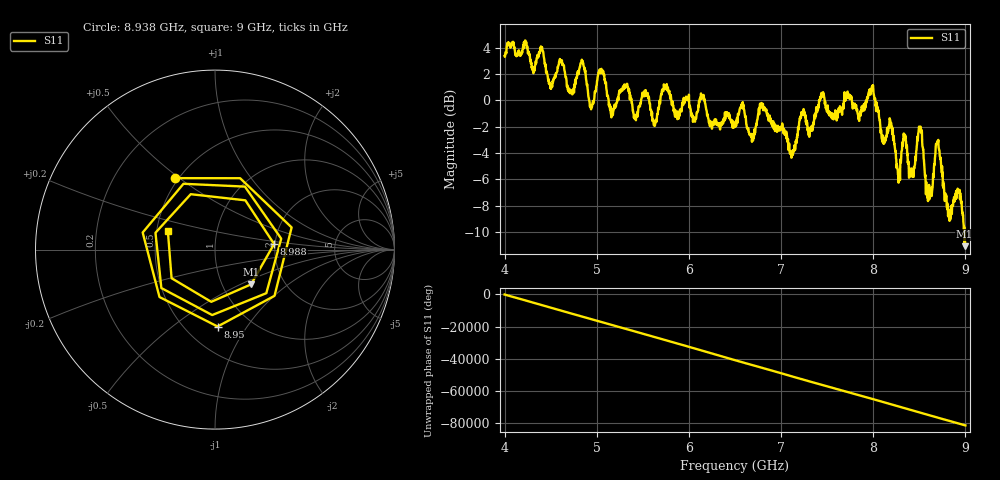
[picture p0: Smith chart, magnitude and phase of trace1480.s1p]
! Created with skrf 1.8.0 (http://scikit-rf.org).
# Hz S RI R 50.0
!freq ReS11 ImS11
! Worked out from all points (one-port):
!   1601 points, 4 GHz to 9 GHz, reference 50 ohm
!   lowest |S11| = -11.1 dB at 8.991 GHz (marker M1), VSWR 1.77, Z = 68.2 - j28.6 ohm
!   |S11| at or under -10 dB: 8.988789 GHz to end of sweep
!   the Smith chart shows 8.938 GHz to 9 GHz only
!   S11 on the Smith chart (normalised r, x): 8.938 GHz: 0.48, +0.48; 8.95 GHz: 0.71, -0.74; 8.988 GHz: 1.98, +0.14; 9 GHz: 0.57, +0.13
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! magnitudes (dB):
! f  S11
! 4 GHz  3.4
! 4.625 GHz  2.7
! 4.719 GHz  0.7
! 4.85 GHz  2.8
! 4.941 GHz  -0.6
! 5.044 GHz  2.3
! 5.156 GHz  -1.1
! 5.25 GHz  0.6
! 5.875 GHz  -1.4
! 6.5 GHz  -1.8
! 6.694 GHz  -3.0
! 6.797 GHz  -0.4
! 7.125 GHz  -3.8
! 7.228 GHz  -1.0
! 7.75 GHz  0.4
! 7.984 GHz  1.0
! 8.266 GHz  -5.3
! 8.375 GHz  -4.7
! 8.425 GHz  -5.3
! 8.503 GHz  -2.1
! 8.594 GHz  -7.7
! 8.697 GHz  -3.1
! 8.822 GHz  -8.9
! 8.938 GHz  -6.8
! 8.95 GHz  -7.4
! 8.988 GHz  -9.6
! 8.991 GHz  -11.1
! 9 GHz  -11.0
